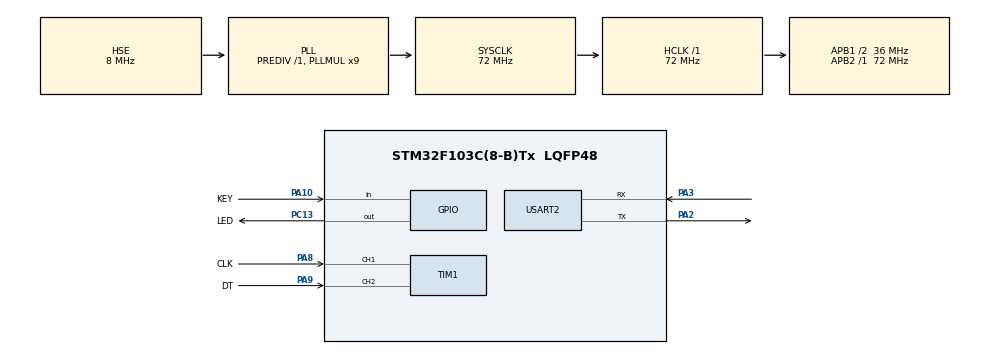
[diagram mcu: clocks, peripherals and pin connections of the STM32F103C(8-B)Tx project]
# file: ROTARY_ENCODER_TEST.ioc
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Mcu.Family=STM32F1
Mcu.Name=STM32F103C(8-B)Tx
Mcu.Package=LQFP48
NVIC.PriorityGroup=NVIC_PRIORITYGROUP_4
PA10.GPIO_Label=KEY
PA10.Signal=GPIO_Input
PA13.Mode=Serial_Wire
PA13.Signal=SYS_JTMS-SWDIO
PA14.Mode=Serial_Wire
PA14.Signal=SYS_JTCK-SWCLK
PA2.Mode=Asynchronous
PA2.Signal=USART2_TX
PA3.Mode=Asynchronous
PA3.Signal=USART2_RX
PA8.GPIO_Label=CLK
PA8.GPIO_PuPd=GPIO_PULLUP
PA8.Signal=S_TIM1_CH1
PA9.GPIO_Label=DT
PA9.GPIO_PuPd=GPIO_PULLUP
PA9.Signal=S_TIM1_CH2
PC13-TAMPER-RTC.GPIO_Label=LED
PC13-TAMPER-RTC.Signal=GPIO_Output
PC14-OSC32_IN.Mode=LSE-External-Oscillator
PC14-OSC32_IN.Signal=RCC_OSC32_IN
PC15-OSC32_OUT.Mode=LSE-External-Oscillator
PC15-OSC32_OUT.Signal=RCC_OSC32_OUT
PD0-OSC_IN.Mode=HSE-External-Oscillator
PD0-OSC_IN.Signal=RCC_OSC_IN
PD1-OSC_OUT.Mode=HSE-External-Oscillator
PD1-OSC_OUT.Signal=RCC_OSC_OUT
ProjectManager.HeapSize=0x200
ProjectManager.StackSize=0x400
ProjectManager.TargetToolchain=SW4STM32
RCC.AHBFreq_Value=72000000
RCC.APB1CLKDivider=RCC_HCLK_DIV2
RCC.APB1Freq_Value=36000000
RCC.APB1TimFreq_Value=72000000
RCC.APB2Freq_Value=72000000
RCC.APB2TimFreq_Value=72000000
RCC.HCLKFreq_Value=72000000
RCC.PLLMUL=RCC_PLL_MUL9
RCC.PLLSourceVirtual=RCC_PLLSOURCE_HSE
RCC.SYSCLKFreq_VALUE=72000000
RCC.SYSCLKSource=RCC_SYSCLKSOURCE_PLLCLK
RCC.USBFreq_Value=72000000
SH.S_TIM1_CH1.0=TIM1_CH1,Encoder_Interface
SH.S_TIM1_CH2.0=TIM1_CH2,Encoder_Interface
TIM1.EncoderMode=TIM_ENCODERMODE_TI12
TIM1.IC1Filter=10
TIM1.IC2Filter=10
USART2.VirtualMode=VM_ASYNC
board=custom

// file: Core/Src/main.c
/* USER CODE BEGIN Header */
/**
  ******************************************************************************
  * @file           : main.c
  * @brief          : Main program body
  ******************************************************************************
  * @attention
  *
  * <h2><center>&copy; Copyright (c) 2021 STMicroelectronics.
  * All rights reserved.</center></h2>
  *
  * This software component is licensed by ST under BSD 3-Clause license,
  * the "License"; You may not use this file except in compliance with the
  * License. You may obtain a copy of the License at:
  *                        opensource.org/licenses/BSD-3-Clause
  *
  ******************************************************************************
  */
/* USER CODE END Header */
#include "main.h"

TIM_HandleTypeDef htim1;

UART_HandleTypeDef huart2;

/* USER CODE BEGIN PV */
volatile uint32_t tim1_cnt = 0, direction;

/* USER CODE END PV */

void SystemClock_Config(void);
static void MX_GPIO_Init(void);
static void MX_TIM1_Init(void);
static void MX_USART2_UART_Init(void);

/* USER CODE BEGIN 0 */
#include <errno.h>
#include <sys/stat.h>
#include <sys/times.h>
#include <sys/unistd.h>

int _write(int file, char *ptr, int len) {
    HAL_StatusTypeDef xStatus;
    switch (file) {
    case STDOUT_FILENO: /*stdout*/
		xStatus = HAL_UART_Transmit(&huart2, (uint8_t*)ptr, len, HAL_MAX_DELAY);
		if (xStatus != HAL_OK) {
			errno = EIO;
			return -1;
		}
        break;
    case STDERR_FILENO: /* stderr */
		xStatus = HAL_UART_Transmit(&huart2, (uint8_t*)ptr, len, HAL_MAX_DELAY);
		if (xStatus != HAL_OK) {
			errno = EIO;
			return -1;
		}
        break;
    default:
        errno = EBADF;
        return -1;
    }
    return len;
}
/* USER CODE END 0 */

int main(void)
{

  /* MCU Configuration--------------------------------------------------------*/

  /* Reset of all peripherals, Initializes the Flash interface and the Systick. */
  HAL_Init();

  /* Configure the system clock */
  SystemClock_Config();

  /* Initialize all configured peripherals */
  MX_GPIO_Init();
  MX_TIM1_Init();
  MX_USART2_UART_Init();
  /* USER CODE BEGIN 2 */

  HAL_TIM_Encoder_Start(&htim1, TIM_CHANNEL_ALL);
  int count = 0;
  int knopin = 0;

  /* USER CODE END 2 */

  /* Infinite loop */
  while (1)
  {

    /* USER CODE BEGIN 3 */
	  tim1_cnt = htim1.Instance->CNT;

	  direction = !(__HAL_TIM_IS_TIM_COUNTING_DOWN(&htim1));

	  if(count != tim1_cnt )
	  {
		  printf("counter = %d , direction = %d \r\n", tim1_cnt, direction);
		  count = tim1_cnt;
	  }

	  if((HAL_GPIO_ReadPin(KEY_GPIO_Port, KEY_Pin) == 0) && (knopin == 0)) //
	  {
		  //wanneer gpio pin switch van rotary encoder een 1 doorgeeft laten we de led aan gaan
		  HAL_GPIO_WritePin(LED_GPIO_Port,LED_Pin,0); //led aan
		  printf("Knop ingedrukt! \r\n");
		  knopin = 1;
		  HAL_Delay(200);

	  }
	  else if (HAL_GPIO_ReadPin(KEY_GPIO_Port, KEY_Pin) == 1)
	  {
		  HAL_GPIO_WritePin(LED_GPIO_Port,LED_Pin,1); 	// led uit
		  knopin = 0;
	  }

  }
  /* USER CODE END 3 */
}

void SystemClock_Config(void)
{
  RCC_OscInitTypeDef RCC_OscInitStruct = {0};
  RCC_ClkInitTypeDef RCC_ClkInitStruct = {0};

  /** Initializes the RCC Oscillators according to the specified parameters
  * in the RCC_OscInitTypeDef structure.
  */
  RCC_OscInitStruct.OscillatorType = RCC_OSCILLATORTYPE_HSE;
  RCC_OscInitStruct.HSEState = RCC_HSE_ON;
  RCC_OscInitStruct.HSEPredivValue = RCC_HSE_PREDIV_DIV1;
  RCC_OscInitStruct.HSIState = RCC_HSI_ON;
  RCC_OscInitStruct.PLL.PLLState = RCC_PLL_ON;
  RCC_OscInitStruct.PLL.PLLSource = RCC_PLLSOURCE_HSE;
  RCC_OscInitStruct.PLL.PLLMUL = RCC_PLL_MUL9;
  if (HAL_RCC_OscConfig(&RCC_OscInitStruct) != HAL_OK)
  {
    Error_Handler();
  }
  /** Initializes the CPU, AHB and APB buses clocks
  */
  RCC_ClkInitStruct.ClockType = RCC_CLOCKTYPE_HCLK|RCC_CLOCKTYPE_SYSCLK
                              |RCC_CLOCKTYPE_PCLK1|RCC_CLOCKTYPE_PCLK2;
  RCC_ClkInitStruct.SYSCLKSource = RCC_SYSCLKSOURCE_PLLCLK;
  RCC_ClkInitStruct.AHBCLKDivider = RCC_SYSCLK_DIV1;
  RCC_ClkInitStruct.APB1CLKDivider = RCC_HCLK_DIV2;
  RCC_ClkInitStruct.APB2CLKDivider = RCC_HCLK_DIV1;

  if (HAL_RCC_ClockConfig(&RCC_ClkInitStruct, FLASH_LATENCY_2) != HAL_OK)
  {
    Error_Handler();
  }
}

static void MX_TIM1_Init(void)
{

  TIM_Encoder_InitTypeDef sConfig = {0};
  TIM_MasterConfigTypeDef sMasterConfig = {0};

  htim1.Instance = TIM1;
  htim1.Init.Prescaler = 0;
  htim1.Init.CounterMode = TIM_COUNTERMODE_UP;
  htim1.Init.Period = 65535;
  htim1.Init.ClockDivision = TIM_CLOCKDIVISION_DIV1;
  htim1.Init.RepetitionCounter = 0;
  htim1.Init.AutoReloadPreload = TIM_AUTORELOAD_PRELOAD_DISABLE;
  sConfig.EncoderMode = TIM_ENCODERMODE_TI12;
  sConfig.IC1Polarity = TIM_ICPOLARITY_RISING;
  sConfig.IC1Selection = TIM_ICSELECTION_DIRECTTI;
  sConfig.IC1Prescaler = TIM_ICPSC_DIV1;
  sConfig.IC1Filter = 10;
  sConfig.IC2Polarity = TIM_ICPOLARITY_RISING;
  sConfig.IC2Selection = TIM_ICSELECTION_DIRECTTI;
  sConfig.IC2Prescaler = TIM_ICPSC_DIV1;
  sConfig.IC2Filter = 10;
  if (HAL_TIM_Encoder_Init(&htim1, &sConfig) != HAL_OK)
  {
    Error_Handler();
  }
  sMasterConfig.MasterOutputTrigger = TIM_TRGO_RESET;
  sMasterConfig.MasterSlaveMode = TIM_MASTERSLAVEMODE_DISABLE;
  if (HAL_TIMEx_MasterConfigSynchronization(&htim1, &sMasterConfig) != HAL_OK)
  {
    Error_Handler();
  }

}

static void MX_USART2_UART_Init(void)
{

  huart2.Instance = USART2;
  huart2.Init.BaudRate = 115200;
  huart2.Init.WordLength = UART_WORDLENGTH_8B;
  huart2.Init.StopBits = UART_STOPBITS_1;
  huart2.Init.Parity = UART_PARITY_NONE;
  huart2.Init.Mode = UART_MODE_TX_RX;
  huart2.Init.HwFlowCtl = UART_HWCONTROL_NONE;
  huart2.Init.OverSampling = UART_OVERSAMPLING_16;
  if (HAL_UART_Init(&huart2) != HAL_OK)
  {
    Error_Handler();
  }

}

static void MX_GPIO_Init(void)
{
  GPIO_InitTypeDef GPIO_InitStruct = {0};

  /* GPIO Ports Clock Enable */
  __HAL_RCC_GPIOC_CLK_ENABLE();
  __HAL_RCC_GPIOD_CLK_ENABLE();
  __HAL_RCC_GPIOA_CLK_ENABLE();

  /*Configure GPIO pin Output Level */
  HAL_GPIO_WritePin(LED_GPIO_Port, LED_Pin, GPIO_PIN_RESET);

  /*Configure GPIO pin : LED_Pin */
  GPIO_InitStruct.Pin = LED_Pin;
  GPIO_InitStruct.Mode = GPIO_MODE_OUTPUT_PP;
  GPIO_InitStruct.Pull = GPIO_NOPULL;
  GPIO_InitStruct.Speed = GPIO_SPEED_FREQ_LOW;
  HAL_GPIO_Init(LED_GPIO_Port, &GPIO_InitStruct);

  /*Configure GPIO pin : KEY_Pin */
  GPIO_InitStruct.Pin = KEY_Pin;
  GPIO_InitStruct.Mode = GPIO_MODE_INPUT;
  GPIO_InitStruct.Pull = GPIO_NOPULL;
  HAL_GPIO_Init(KEY_GPIO_Port, &GPIO_InitStruct);

}

void Error_Handler(void)
{
}

/************************ (C) COPYRIGHT STMicroelectronics *****END OF FILE****/
